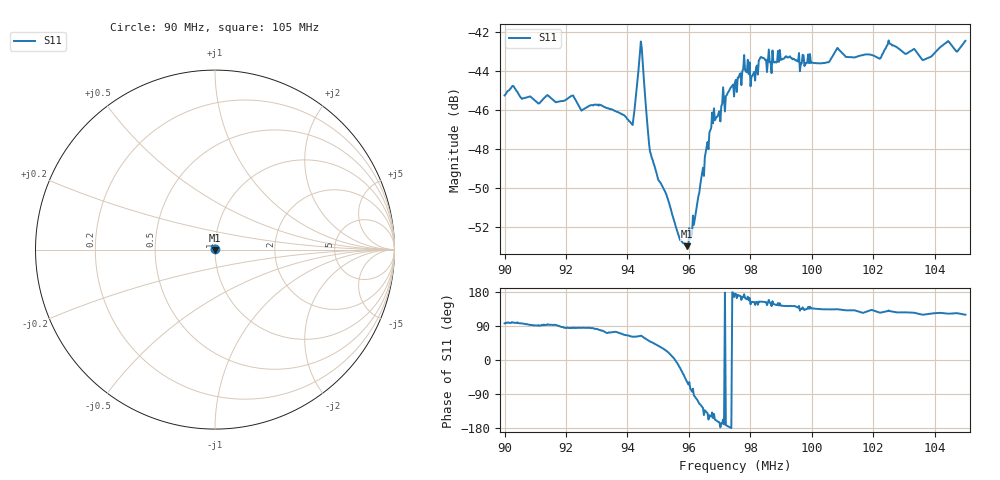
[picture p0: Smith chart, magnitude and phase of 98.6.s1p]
# HZ S RI R 50
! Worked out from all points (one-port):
!   505 points, 90 MHz to 105 MHz, reference 50 ohm
!   lowest |S11| = -53.0 dB at 95.92 MHz (marker M1), VSWR 1.00, Z = 50.1 - j0.184 ohm
!   |S11| at or under -10 dB: start of sweep to end of sweep
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9e7  -0.000648 0.00542
9.026786e7  -0.000874 0.00571
9.107143e7  -8.05e-05 0.00522
9.187501e7  0.000288 0.00527
9.375001e7  0.00161 0.00464
9.416668e7  0.00219 0.00402
9.443454e7  0.00327 0.00675
9.449406e7  0.00319 0.00583
9.467263e7  0.00271 0.00341
9.476192e7  0.00259 0.00285
9.562502e7  0.00241 -0.000392
9.592264e7  0.00128 -0.00183
9.622026e7  -0.000468 -0.00267
9.675597e7  -0.00368 -0.00327
9.750002e7  -0.00588 0.000507
9.779764e7  -0.00688 0.000796
9.80655e7  -0.00547 0.00277
9.836312e7  -0.00616 0.00299
9.937503e7  -0.00533 0.00414
1.004762e8  -0.00456 0.0048
1.008631e8  -0.00496 0.00519
1.0125e8  -0.00449 0.00516
1.022024e8  -0.00391 0.00553
1.025298e8  -0.00469 0.00575
1.03125e8  -0.00408 0.00571
1.036608e8  -0.00337 0.00584
1.044048e8  -0.00402 0.00631
1.05e8  -0.00371 0.00656
